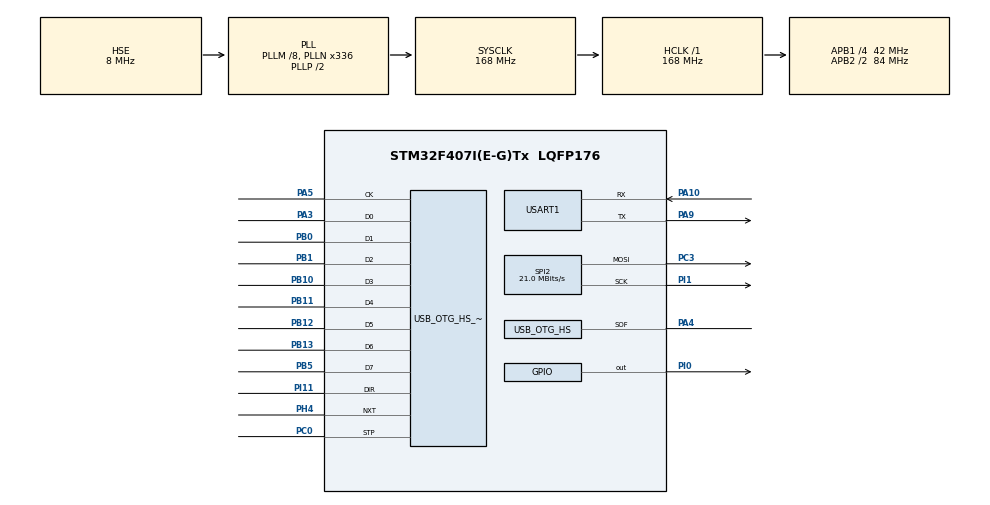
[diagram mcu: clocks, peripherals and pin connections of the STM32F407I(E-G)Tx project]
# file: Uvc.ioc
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Dma.Request0=SPI2_TX
Dma.SPI2_TX.0.Direction=DMA_MEMORY_TO_PERIPH
Dma.SPI2_TX.0.FIFOMode=DMA_FIFOMODE_DISABLE
Dma.SPI2_TX.0.Instance=DMA1_Stream4
Dma.SPI2_TX.0.MemDataAlignment=DMA_MDATAALIGN_BYTE
Dma.SPI2_TX.0.MemInc=DMA_MINC_ENABLE
Dma.SPI2_TX.0.Mode=DMA_CIRCULAR
Dma.SPI2_TX.0.PeriphDataAlignment=DMA_PDATAALIGN_BYTE
Dma.SPI2_TX.0.PeriphInc=DMA_PINC_DISABLE
Dma.SPI2_TX.0.Priority=DMA_PRIORITY_MEDIUM
Mcu.Family=STM32F4
Mcu.Name=STM32F407I(E-G)Tx
Mcu.Package=LQFP176
NVIC.DMA1_Stream4_IRQn=true\:0\:0\:false\:false\:true\:false\:true\:true
NVIC.OTG_HS_EP1_IN_IRQn=true\:0\:0\:false\:false\:true\:true\:true\:true
NVIC.OTG_HS_EP1_OUT_IRQn=true\:0\:0\:false\:false\:true\:true\:true\:true
NVIC.OTG_HS_IRQn=true\:0\:0\:false\:false\:true\:true\:true\:true
NVIC.PriorityGroup=NVIC_PRIORITYGROUP_4
NVIC.USART1_IRQn=true\:0\:0\:false\:false\:true\:true\:true\:true
PA10.Mode=Asynchronous
PA10.Signal=USART1_RX
PA3.Mode=Host_HS
PA3.Signal=USB_OTG_HS_ULPI_D0
PA4.Mode=Activate_SOF_FS
PA4.Signal=USB_OTG_HS_SOF
PA5.Mode=Host_HS
PA5.Signal=USB_OTG_HS_ULPI_CK
PA9.Mode=Asynchronous
PA9.Signal=USART1_TX
PB0.Mode=Host_HS
PB0.Signal=USB_OTG_HS_ULPI_D1
PB1.Mode=Host_HS
PB1.Signal=USB_OTG_HS_ULPI_D2
PB10.Mode=Host_HS
PB10.Signal=USB_OTG_HS_ULPI_D3
PB11.Mode=Host_HS
PB11.Signal=USB_OTG_HS_ULPI_D4
PB12.Mode=Host_HS
PB12.Signal=USB_OTG_HS_ULPI_D5
PB13.Mode=Host_HS
PB13.Signal=USB_OTG_HS_ULPI_D6
PB5.Mode=Host_HS
PB5.Signal=USB_OTG_HS_ULPI_D7
PC0.Mode=Host_HS
PC0.Signal=USB_OTG_HS_ULPI_STP
PC3.Mode=TX_Only_Simplex_Unidirect_Master
PC3.Signal=SPI2_MOSI
PH0-OSC_IN.Mode=HSE-External-Oscillator
PH0-OSC_IN.Signal=RCC_OSC_IN
PH1-OSC_OUT.Mode=HSE-External-Oscillator
PH1-OSC_OUT.Signal=RCC_OSC_OUT
PH4.Mode=Host_HS
PH4.Signal=USB_OTG_HS_ULPI_NXT
PI0.Signal=GPIO_Output
PI1.Mode=TX_Only_Simplex_Unidirect_Master
PI1.Signal=SPI2_SCK
PI11.Mode=Host_HS
PI11.Signal=USB_OTG_HS_ULPI_DIR
ProjectManager.HeapSize=0x200
ProjectManager.StackSize=0x400
ProjectManager.TargetToolchain=STM32CubeIDE
RCC.48MHZClocksFreq_Value=48000000
RCC.AHBFreq_Value=168000000
RCC.APB1CLKDivider=RCC_HCLK_DIV4
RCC.APB1Freq_Value=42000000
RCC.APB1TimFreq_Value=84000000
RCC.APB2CLKDivider=RCC_HCLK_DIV2
RCC.APB2Freq_Value=84000000
RCC.APB2TimFreq_Value=168000000
RCC.CortexFreq_Value=168000000
RCC.HCLKFreq_Value=168000000
RCC.HSE_VALUE=8000000
RCC.HSI_VALUE=16000000
RCC.LSE_VALUE=32768
RCC.PLLM=8
RCC.PLLN=336
RCC.PLLQ=7
RCC.PLLSourceVirtual=RCC_PLLSOURCE_HSE
RCC.SYSCLKFreq_VALUE=168000000
RCC.SYSCLKSource=RCC_SYSCLKSOURCE_PLLCLK
RCC.VCOOutputFreq_Value=336000000
SPI2.BaudRatePrescaler=SPI_BAUDRATEPRESCALER_2
SPI2.CalculateBaudRate=21.0 MBits/s
SPI2.Direction=SPI_DIRECTION_2LINES
SPI2.Mode=SPI_MODE_MASTER
SPI2.VirtualType=VM_MASTER
USART1.VirtualMode=VM_ASYNC
USB_HOST.ALL_SW_VBUS_DRIVE_HS=false
USB_HOST.USBH_DEBUG_LEVEL-ALL_Classes_HS=3
USB_HOST.USBH_HandleTypeDef-ALL_Classes_HS=hUsbHostHS
USB_HOST.USBH_MAX_DATA_BUFFER-ALL_Classes_HS=4096
USB_HOST.USBH_MAX_NUM_INTERFACES-ALL_Classes_HS=2
USB_HOST.USBH_MAX_NUM_SUPPORTED_CLASS-ALL_Classes_HS=6
USB_HOST.USBH_MAX_SIZE_CONFIGURATION-ALL_Classes_HS=256
USB_HOST.VirtualModeHS=All_Classes
USB_OTG_HS.VirtualMode-Host_HS=Host_HS
USB_OTG_HS.dma_enable-Host_HS=DISABLE
VP_USB_HOST_VS_USB_HOST_ALL_CLASS_HS.Mode=ALL_Classes_HS
board=custom

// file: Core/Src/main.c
/* USER CODE BEGIN Header */
/**
  ******************************************************************************
  * @file           : main.c
  * @brief          : Main program body
  ******************************************************************************
  * @attention
  *
  * Copyright (c) 2025 STMicroelectronics.
  * All rights reserved.
  *
  * This software is licensed under terms that can be found in the LICENSE file
  * in the root directory of this software component.
  * If no LICENSE file comes with this software, it is provided AS-IS.
  *
  ******************************************************************************
  */
/* USER CODE END Header */
#include "main.h"
#include "usb_host.h"

/* USER CODE BEGIN Includes */
#include "usbh_video.h"
#include "usbh_video_stream_parsing.h"
/* USER CODE END Includes */

SPI_HandleTypeDef hspi2;
DMA_HandleTypeDef hdma_spi2_tx;

UART_HandleTypeDef huart1;

/* USER CODE BEGIN PV */
volatile uint8_t uvc_framebuffer0[UVC_MAX_FRAME_SIZE];
/* USER CODE END PV */

void SystemClock_Config(void);
static void MX_GPIO_Init(void);
static void MX_DMA_Init(void);
static void MX_USART1_UART_Init(void);
static void MX_SPI2_Init(void);
void MX_USB_HOST_Process(void);

/* USER CODE BEGIN 0 */
extern uint8_t uvc_parsing_new_frame_ready;
extern uint8_t* uvc_ready_framebuffer_ptr;
extern uint32_t uvc_ready_frame_length;
extern uint32_t uvc_frame_cnt;

int _write(int file, char *ptr, int len)
{
    HAL_UART_Transmit(&huart1, (uint8_t*)ptr, len, HAL_MAX_DELAY);
    return len;
}
/* USER CODE END 0 */

int main(void)
{

  /* MCU Configuration--------------------------------------------------------*/

  /* Reset of all peripherals, Initializes the Flash interface and the Systick. */
  HAL_Init();

  /* Configure the system clock */
  SystemClock_Config();

  /* Initialize all configured peripherals */
  MX_GPIO_Init();
  MX_DMA_Init();
  MX_USB_HOST_Init();
  MX_USART1_UART_Init();
  MX_SPI2_Init();
  /* USER CODE BEGIN 2 */
  video_stream_init_buffers((uint8_t*)uvc_framebuffer0, (uint8_t*)uvc_framebuffer0);

  /* USER CODE END 2 */

  /* Infinite loop */
  while (1)
  {
    MX_USB_HOST_Process();

    /* USER CODE BEGIN 3 */
    USB_HOST_fast_class_call();

	if (uvc_parsing_new_frame_ready)
	{
	  uvc_parsing_new_frame_ready = 0;
//	  HAL_UART_Transmit(&huart1, (uint8_t *)(uvc_ready_framebuffer_ptr), uvc_ready_frame_length, HAL_MAX_DELAY);
	  HAL_GPIO_WritePin(GPIOI, GPIO_PIN_0, 0);
	  HAL_SPI_Transmit(&hspi2, (uint8_t *)(uvc_ready_framebuffer_ptr), uvc_ready_frame_length, HAL_MAX_DELAY);
	  HAL_GPIO_WritePin(GPIOI, GPIO_PIN_0, 1);
	  HAL_Delay(20);
	  video_stream_ready_update();
	}
	else
	{
//		HAL_UART_Transmit(&huart1, (uint8_t *)(uvc_ready_framebuffer_ptr), uvc_ready_frame_length, HAL_MAX_DELAY);
	}

  }
  /* USER CODE END 3 */
}

void SystemClock_Config(void)
{
  RCC_OscInitTypeDef RCC_OscInitStruct = {0};
  RCC_ClkInitTypeDef RCC_ClkInitStruct = {0};

  /** Configure the main internal regulator output voltage
  */
  __HAL_RCC_PWR_CLK_ENABLE();
  __HAL_PWR_VOLTAGESCALING_CONFIG(PWR_REGULATOR_VOLTAGE_SCALE1);

  /** Initializes the RCC Oscillators according to the specified parameters
  * in the RCC_OscInitTypeDef structure.
  */
  RCC_OscInitStruct.OscillatorType = RCC_OSCILLATORTYPE_HSE;
  RCC_OscInitStruct.HSEState = RCC_HSE_ON;
  RCC_OscInitStruct.PLL.PLLState = RCC_PLL_ON;
  RCC_OscInitStruct.PLL.PLLSource = RCC_PLLSOURCE_HSE;
  RCC_OscInitStruct.PLL.PLLM = 8;
  RCC_OscInitStruct.PLL.PLLN = 336;
  RCC_OscInitStruct.PLL.PLLP = RCC_PLLP_DIV2;
  RCC_OscInitStruct.PLL.PLLQ = 7;
  if (HAL_RCC_OscConfig(&RCC_OscInitStruct) != HAL_OK)
  {
    Error_Handler();
  }

  /** Initializes the CPU, AHB and APB buses clocks
  */
  RCC_ClkInitStruct.ClockType = RCC_CLOCKTYPE_HCLK|RCC_CLOCKTYPE_SYSCLK
                              |RCC_CLOCKTYPE_PCLK1|RCC_CLOCKTYPE_PCLK2;
  RCC_ClkInitStruct.SYSCLKSource = RCC_SYSCLKSOURCE_PLLCLK;
  RCC_ClkInitStruct.AHBCLKDivider = RCC_SYSCLK_DIV1;
  RCC_ClkInitStruct.APB1CLKDivider = RCC_HCLK_DIV4;
  RCC_ClkInitStruct.APB2CLKDivider = RCC_HCLK_DIV2;

  if (HAL_RCC_ClockConfig(&RCC_ClkInitStruct, FLASH_LATENCY_5) != HAL_OK)
  {
    Error_Handler();
  }
}

static void MX_SPI2_Init(void)
{

  /* SPI2 parameter configuration*/
  hspi2.Instance = SPI2;
  hspi2.Init.Mode = SPI_MODE_MASTER;
  hspi2.Init.Direction = SPI_DIRECTION_2LINES;
  hspi2.Init.DataSize = SPI_DATASIZE_8BIT;
  hspi2.Init.CLKPolarity = SPI_POLARITY_LOW;
  hspi2.Init.CLKPhase = SPI_PHASE_1EDGE;
  hspi2.Init.NSS = SPI_NSS_SOFT;
  hspi2.Init.BaudRatePrescaler = SPI_BAUDRATEPRESCALER_2;
  hspi2.Init.FirstBit = SPI_FIRSTBIT_MSB;
  hspi2.Init.TIMode = SPI_TIMODE_DISABLE;
  hspi2.Init.CRCCalculation = SPI_CRCCALCULATION_DISABLE;
  hspi2.Init.CRCPolynomial = 10;
  if (HAL_SPI_Init(&hspi2) != HAL_OK)
  {
    Error_Handler();
  }

}

static void MX_USART1_UART_Init(void)
{

  huart1.Instance = USART1;
  huart1.Init.BaudRate = 115200;
  huart1.Init.WordLength = UART_WORDLENGTH_8B;
  huart1.Init.StopBits = UART_STOPBITS_1;
  huart1.Init.Parity = UART_PARITY_NONE;
  huart1.Init.Mode = UART_MODE_TX_RX;
  huart1.Init.HwFlowCtl = UART_HWCONTROL_NONE;
  huart1.Init.OverSampling = UART_OVERSAMPLING_16;
  if (HAL_UART_Init(&huart1) != HAL_OK)
  {
    Error_Handler();
  }

}

static void MX_DMA_Init(void)
{

  /* DMA controller clock enable */
  __HAL_RCC_DMA1_CLK_ENABLE();

  /* DMA interrupt init */
  /* DMA1_Stream4_IRQn interrupt configuration */
  HAL_NVIC_SetPriority(DMA1_Stream4_IRQn, 0, 0);
  HAL_NVIC_EnableIRQ(DMA1_Stream4_IRQn);

}

static void MX_GPIO_Init(void)
{
  GPIO_InitTypeDef GPIO_InitStruct = {0};

  /* GPIO Ports Clock Enable */
  __HAL_RCC_GPIOI_CLK_ENABLE();
  __HAL_RCC_GPIOH_CLK_ENABLE();
  __HAL_RCC_GPIOC_CLK_ENABLE();
  __HAL_RCC_GPIOA_CLK_ENABLE();
  __HAL_RCC_GPIOB_CLK_ENABLE();

  /*Configure GPIO pin Output Level */
  HAL_GPIO_WritePin(GPIOI, GPIO_PIN_0, GPIO_PIN_RESET);

  /*Configure GPIO pin : PI0 */
  GPIO_InitStruct.Pin = GPIO_PIN_0;
  GPIO_InitStruct.Mode = GPIO_MODE_OUTPUT_PP;
  GPIO_InitStruct.Pull = GPIO_NOPULL;
  GPIO_InitStruct.Speed = GPIO_SPEED_FREQ_LOW;
  HAL_GPIO_Init(GPIOI, &GPIO_InitStruct);

}

void Error_Handler(void)
{
  __disable_irq();
  while (1)
  {
  }
}
